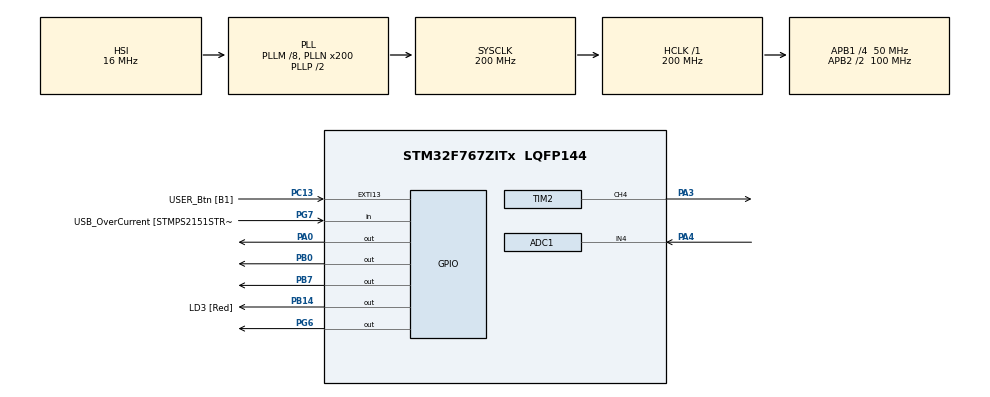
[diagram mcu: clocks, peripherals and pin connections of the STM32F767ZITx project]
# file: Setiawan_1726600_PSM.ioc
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ADC1.Channel-5\#ChannelRegularConversion=ADC_CHANNEL_4
ADC1.ContinuousConvMode=DISABLE
ADC1.DMAContinuousRequests=ENABLE
ADC1.ExternalTrigConv=ADC_EXTERNALTRIGCONV_T4_TRGO
ADC1.InjNumberOfConversion=0
ADC1.NbrOfConversion=1
ADC1.NbrOfConversionFlag=1
ADC1.Rank-5\#ChannelRegularConversion=1
ADC1.SamplingTime-5\#ChannelRegularConversion=ADC_SAMPLETIME_3CYCLES
ADC1.master=1
Dma.ADC1.0.Direction=DMA_PERIPH_TO_MEMORY
Dma.ADC1.0.FIFOMode=DMA_FIFOMODE_DISABLE
Dma.ADC1.0.Instance=DMA2_Stream0
Dma.ADC1.0.MemDataAlignment=DMA_MDATAALIGN_HALFWORD
Dma.ADC1.0.MemInc=DMA_MINC_ENABLE
Dma.ADC1.0.Mode=DMA_CIRCULAR
Dma.ADC1.0.PeriphDataAlignment=DMA_PDATAALIGN_HALFWORD
Dma.ADC1.0.PeriphInc=DMA_PINC_DISABLE
Dma.ADC1.0.Priority=DMA_PRIORITY_HIGH
Dma.Request0=ADC1
Mcu.Family=STM32F7
Mcu.Name=STM32F767ZITx
Mcu.Package=LQFP144
NVIC.DMA2_Stream0_IRQn=true\:0\:0\:false\:false\:true\:false\:true\:true
NVIC.PriorityGroup=NVIC_PRIORITYGROUP_4
NVIC.TIM1_UP_TIM10_IRQn=true\:0\:0\:false\:false\:true\:true\:true\:true
NVIC.TIM2_IRQn=true\:0\:0\:false\:false\:true\:true\:true\:true
NVIC.TIM4_IRQn=true\:0\:0\:false\:false\:true\:true\:true\:true
PA0/WKUP.Signal=GPIO_Output
PA1.GPIO_Label=RMII_REF_CLK [LAN8742A-CZ-TR_REFCLK0]
PA1.Signal=ETH_REF_CLK
PA10.GPIO_Label=USB_ID
PA10.Signal=USB_OTG_FS_ID
PA11.GPIO_Label=USB_DM
PA11.Signal=USB_OTG_FS_DM
PA12.GPIO_Label=USB_DP
PA12.Signal=USB_OTG_FS_DP
PA13.GPIO_Label=TMS
PA13.Mode=Serial_Wire
PA13.Signal=SYS_JTMS-SWDIO
PA14.GPIO_Label=TCK
PA14.Mode=Serial_Wire
PA14.Signal=SYS_JTCK-SWCLK
PA2.GPIO_Label=RMII_MDIO [LAN8742A-CZ-TR_MDIO]
PA2.Signal=ETH_MDIO
PA3.GPIO_Speed=GPIO_SPEED_FREQ_HIGH
PA3.Signal=S_TIM2_CH4
PA4.Signal=ADCx_IN4
PA7.GPIO_Label=RMII_CRS_DV [LAN8742A-CZ-TR_CRS_DV]
PA7.Signal=ETH_CRS_DV
PA8.GPIO_Label=USB_SOF [TP1]
PA8.Signal=USB_OTG_FS_SOF
PA9.GPIO_Label=USB_VBUS
PA9.Signal=USB_OTG_FS_VBUS
PB0.Signal=GPIO_Output
PB13.GPIO_Label=RMII_TXD1 [LAN8742A-CZ-TR_TXD1]
PB13.Signal=ETH_TXD1
PB14.GPIO_Label=LD3 [Red]
PB14.Signal=GPIO_Output
PB3.GPIO_Label=SW0
PB3.Signal=SYS_JTDO-SWO
PB7.Signal=GPIO_Output
PC1.GPIO_Label=RMII_MDC [LAN8742A-CZ-TR_MDC]
PC1.Signal=ETH_MDC
PC13.GPIO_Label=USER_Btn [B1]
PC13.Signal=GPXTI13
PC14/OSC32_IN.Signal=RCC_OSC32_IN
PC15/OSC32_OUT.Signal=RCC_OSC32_OUT
PC4.GPIO_Label=RMII_RXD0 [LAN8742A-CZ-TR_RXD0]
PC4.Signal=ETH_RXD0
PC5.GPIO_Label=RMII_RXD1 [LAN8742A-CZ-TR_RXD1]
PC5.Signal=ETH_RXD1
PD8.GPIO_Label=STLK_RX [STM32F103CBT6_PA3]
PD8.Signal=USART3_TX
PD9.GPIO_Label=STLK_TX [STM32F103CBT6_PA2]
PD9.Signal=USART3_RX
PG11.GPIO_Label=RMII_TX_EN [LAN8742A-CZ-TR_TXEN]
PG11.Signal=ETH_TX_EN
PG13.GPIO_Label=RMII_TXD0 [LAN8742A-CZ-TR_TXD0]
PG13.Signal=ETH_TXD0
PG6.Signal=GPIO_Output
PG7.GPIO_Label=USB_OverCurrent [STMPS2151STR_FAULT]
PG7.Signal=GPIO_Input
PH0/OSC_IN.GPIO_Label=MCO [STM32F103CBT6_PA8]
PH0/OSC_IN.Signal=RCC_OSC_IN
PH1/OSC_OUT.Signal=RCC_OSC_OUT
ProjectManager.HeapSize=0x200
ProjectManager.StackSize=0x400
ProjectManager.TargetToolchain=STM32CubeIDE
RCC.48MHZClocksFreq_Value=24000000
RCC.AHBFreq_Value=200000000
RCC.APB1CLKDivider=RCC_HCLK_DIV4
RCC.APB1Freq_Value=50000000
RCC.APB1TimFreq_Value=100000000
RCC.APB2CLKDivider=RCC_HCLK_DIV2
RCC.APB2Freq_Value=100000000
RCC.APB2TimFreq_Value=200000000
RCC.CortexFreq_Value=200000000
RCC.HCLKFreq_Value=200000000
RCC.HSE_VALUE=16000000
RCC.HSI_VALUE=16000000
RCC.LSE_VALUE=32768
RCC.PLLM=8
RCC.PLLMUL=RCC_PLL_MUL9
RCC.PLLN=200
RCC.PRESCALERUSB=RCC_USBCLKSOURCE_PLL_DIV1_5
RCC.SYSCLKFreq_VALUE=200000000
RCC.SYSCLKSource=RCC_SYSCLKSOURCE_PLLCLK
RCC.SYSCLKSourceVirtual=RCC_SYSCLKSOURCE_PLLCLK
RCC.USBFreq_Value=200000000
RCC.VCOOutputFreq_Value=400000000
SH.ADCx_IN4.0=ADC1_IN4,IN4
SH.S_TIM2_CH4.0=TIM2_CH4,PWM Generation4 CH4
TIM1.Period=999
TIM1.Prescaler=19999
TIM1.TIM_MasterOutputTrigger=TIM_TRGO_UPDATE
TIM2.Channel-PWM\ Generation4\ CH4=TIM_CHANNEL_4
TIM2.OCMode_PWM-PWM\ Generation4\ CH4=TIM_OCMODE_PWM1
TIM2.Period=1723
TIM2.Pulse-PWM\ Generation4\ CH4=750
TIM2.TIM_MasterOutputTrigger=TIM_TRGO_UPDATE
TIM2.TIM_MasterSlaveMode=TIM_MASTERSLAVEMODE_DISABLE
TIM4.Period=1509
TIM4.Prescaler=99
TIM4.TIM_MasterOutputTrigger=TIM_TRGO_UPDATE
TIM4.TIM_MasterSlaveMode=TIM_MASTERSLAVEMODE_ENABLE
TIM5.Period=3333
VP_TIM1_VS_ClockSourceINT.Mode=Internal
VP_TIM2_VS_ClockSourceINT.Mode=Internal
VP_TIM2_VS_ClockSourceITR.Mode=TriggerSource_ITR0
VP_TIM2_VS_ControllerModeTrigger.Mode=Trigger Mode
VP_TIM4_VS_ClockSourceINT.Mode=Internal
VP_TIM4_VS_ClockSourceITR.Mode=TriggerSource_ITR0
VP_TIM4_VS_ControllerModeTrigger.Mode=Trigger Mode
VP_TIM4_VS_OPM.Mode=OPM_bit
VP_TIM5_VS_ClockSourceINT.Mode=Internal
board=NUCLEO-F767ZI

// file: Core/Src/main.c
/* USER CODE BEGIN Header */
/**
  ******************************************************************************
  * @file           : main.c
  * @brief          : Main program body
  ******************************************************************************
  * @attention
  *
  * Copyright (c) 2025 STMicroelectronics.
  * All rights reserved.
  *
  * This software is licensed under terms that can be found in the LICENSE file
  * in the root directory of this software component.
  * If no LICENSE file comes with this software, it is provided AS-IS.
  *
  ******************************************************************************
  */
/* USER CODE END Header */
#include "main.h"

ADC_HandleTypeDef hadc1;
DMA_HandleTypeDef hdma_adc1;

TIM_HandleTypeDef htim1;
TIM_HandleTypeDef htim2;
TIM_HandleTypeDef htim4;
TIM_HandleTypeDef htim5;

void SystemClock_Config(void);
static void MX_GPIO_Init(void);
static void MX_DMA_Init(void);
static void MX_TIM5_Init(void);
static void MX_TIM1_Init(void);
static void MX_TIM2_Init(void);
static void MX_ADC1_Init(void);
static void MX_TIM4_Init(void);

/* USER CODE BEGIN 0 */
#define ADC_BUF_SIZE 64
uint16_t adc_buf[ADC_BUF_SIZE];			//buffer where DMA stores ADC samples

volatile uint8_t adc_ready = 0;			//flag, set when ADC+DMA finish
volatile uint8_t pulse_counter = 0;		//counter for 58kHz pulse
/* USER CODE END 0 */

int main(void)
{

  /* MCU Configuration--------------------------------------------------------*/

  /* Reset of all peripherals, Initializes the Flash interface and the Systick. */
  HAL_Init();

  /* Configure the system clock */
  SystemClock_Config();

  /* Initialize all configured peripherals */
  MX_GPIO_Init();
  MX_DMA_Init();
  MX_TIM5_Init();
  MX_TIM1_Init();
  MX_TIM2_Init();
  MX_ADC1_Init();
  MX_TIM4_Init();
  /* USER CODE BEGIN 2 */
  // Start ADC in DMA mode (conversion will begin only on TIM4 trigger)
  HAL_ADC_Start_DMA(&hadc1, (uint32_t*)adc_buf, ADC_BUF_SIZE);

  // Start TIM2 PWM with interrupt enabled (we stop it manually after 3 pulses)
  HAL_TIM_PWM_Start_IT(&htim2, TIM_CHANNEL_4);
  __HAL_TIM_ENABLE_IT(&htim2, TIM_IT_UPDATE);

  // Start TIM1 (master timer — triggers TIM2 + TIM4 via ITR0)
  HAL_TIM_Base_Start_IT(&htim1);

  // Start TIM4 in one-pulse mode (slave timer for ADC trigger)
  HAL_TIM_Base_Start_IT(&htim4);

  // Start TIM5 as a free-running stopwatch for debugging timing
  HAL_TIM_Base_Start_IT(&htim5);

  //HAL_GPIO_WritePin(GPIOA, GPIO_PIN_3, GPIO_PIN_SET);

  /* USER CODE END 2 */

  /* Infinite loop */
  while (1)
  {

    /* USER CODE BEGIN 3 */
	  if (adc_ready)
	  {

	      adc_ready = 0;

	      // Optional: process adc_buf[] here
	      // e.g. find echo peak, average, or log to UART

	      // Restart TIM2 for next cycle (re-arm for 3 new pulses)
	      HAL_TIM_PWM_Start_IT(&htim2, TIM_CHANNEL_4);
	  }
  }
  /* USER CODE END 3 */
}

void SystemClock_Config(void)
{
  RCC_OscInitTypeDef RCC_OscInitStruct = {0};
  RCC_ClkInitTypeDef RCC_ClkInitStruct = {0};

  /** Configure the main internal regulator output voltage
  */
  __HAL_RCC_PWR_CLK_ENABLE();
  __HAL_PWR_VOLTAGESCALING_CONFIG(PWR_REGULATOR_VOLTAGE_SCALE1);

  /** Initializes the RCC Oscillators according to the specified parameters
  * in the RCC_OscInitTypeDef structure.
  */
  RCC_OscInitStruct.OscillatorType = RCC_OSCILLATORTYPE_HSI;
  RCC_OscInitStruct.HSIState = RCC_HSI_ON;
  RCC_OscInitStruct.HSICalibrationValue = RCC_HSICALIBRATION_DEFAULT;
  RCC_OscInitStruct.PLL.PLLState = RCC_PLL_ON;
  RCC_OscInitStruct.PLL.PLLSource = RCC_PLLSOURCE_HSI;
  RCC_OscInitStruct.PLL.PLLM = 8;
  RCC_OscInitStruct.PLL.PLLN = 200;
  RCC_OscInitStruct.PLL.PLLP = RCC_PLLP_DIV2;
  RCC_OscInitStruct.PLL.PLLQ = 2;
  RCC_OscInitStruct.PLL.PLLR = 2;
  if (HAL_RCC_OscConfig(&RCC_OscInitStruct) != HAL_OK)
  {
    Error_Handler();
  }

  /** Activate the Over-Drive mode
  */
  if (HAL_PWREx_EnableOverDrive() != HAL_OK)
  {
    Error_Handler();
  }

  /** Initializes the CPU, AHB and APB buses clocks
  */
  RCC_ClkInitStruct.ClockType = RCC_CLOCKTYPE_HCLK|RCC_CLOCKTYPE_SYSCLK
                              |RCC_CLOCKTYPE_PCLK1|RCC_CLOCKTYPE_PCLK2;
  RCC_ClkInitStruct.SYSCLKSource = RCC_SYSCLKSOURCE_PLLCLK;
  RCC_ClkInitStruct.AHBCLKDivider = RCC_SYSCLK_DIV1;
  RCC_ClkInitStruct.APB1CLKDivider = RCC_HCLK_DIV4;
  RCC_ClkInitStruct.APB2CLKDivider = RCC_HCLK_DIV2;

  if (HAL_RCC_ClockConfig(&RCC_ClkInitStruct, FLASH_LATENCY_6) != HAL_OK)
  {
    Error_Handler();
  }
}

static void MX_ADC1_Init(void)
{

  ADC_ChannelConfTypeDef sConfig = {0};

  /** Configure the global features of the ADC (Clock, Resolution, Data Alignment and number of conversion)
  */
  hadc1.Instance = ADC1;
  hadc1.Init.ClockPrescaler = ADC_CLOCK_SYNC_PCLK_DIV4;
  hadc1.Init.Resolution = ADC_RESOLUTION_12B;
  hadc1.Init.ScanConvMode = ADC_SCAN_DISABLE;
  hadc1.Init.ContinuousConvMode = DISABLE;
  hadc1.Init.DiscontinuousConvMode = DISABLE;
  hadc1.Init.ExternalTrigConvEdge = ADC_EXTERNALTRIGCONVEDGE_RISING;
  hadc1.Init.ExternalTrigConv = ADC_EXTERNALTRIGCONV_T4_TRGO;
  hadc1.Init.DataAlign = ADC_DATAALIGN_RIGHT;
  hadc1.Init.NbrOfConversion = 1;
  hadc1.Init.DMAContinuousRequests = ENABLE;
  hadc1.Init.EOCSelection = ADC_EOC_SINGLE_CONV;
  if (HAL_ADC_Init(&hadc1) != HAL_OK)
  {
    Error_Handler();
  }

  /** Configure for the selected ADC regular channel its corresponding rank in the sequencer and its sample time.
  */
  sConfig.Channel = ADC_CHANNEL_4;
  sConfig.Rank = ADC_REGULAR_RANK_1;
  sConfig.SamplingTime = ADC_SAMPLETIME_3CYCLES;
  if (HAL_ADC_ConfigChannel(&hadc1, &sConfig) != HAL_OK)
  {
    Error_Handler();
  }

}

static void MX_TIM1_Init(void)
{

  TIM_ClockConfigTypeDef sClockSourceConfig = {0};
  TIM_MasterConfigTypeDef sMasterConfig = {0};

  htim1.Instance = TIM1;
  htim1.Init.Prescaler = 19999;
  htim1.Init.CounterMode = TIM_COUNTERMODE_UP;
  htim1.Init.Period = 999;
  htim1.Init.ClockDivision = TIM_CLOCKDIVISION_DIV1;
  htim1.Init.RepetitionCounter = 0;
  htim1.Init.AutoReloadPreload = TIM_AUTORELOAD_PRELOAD_DISABLE;
  if (HAL_TIM_Base_Init(&htim1) != HAL_OK)
  {
    Error_Handler();
  }
  sClockSourceConfig.ClockSource = TIM_CLOCKSOURCE_INTERNAL;
  if (HAL_TIM_ConfigClockSource(&htim1, &sClockSourceConfig) != HAL_OK)
  {
    Error_Handler();
  }
  sMasterConfig.MasterOutputTrigger = TIM_TRGO_UPDATE;
  sMasterConfig.MasterOutputTrigger2 = TIM_TRGO2_RESET;
  sMasterConfig.MasterSlaveMode = TIM_MASTERSLAVEMODE_DISABLE;
  if (HAL_TIMEx_MasterConfigSynchronization(&htim1, &sMasterConfig) != HAL_OK)
  {
    Error_Handler();
  }

}

static void MX_TIM2_Init(void)
{

  TIM_ClockConfigTypeDef sClockSourceConfig = {0};
  TIM_SlaveConfigTypeDef sSlaveConfig = {0};
  TIM_MasterConfigTypeDef sMasterConfig = {0};
  TIM_OC_InitTypeDef sConfigOC = {0};

  htim2.Instance = TIM2;
  htim2.Init.Prescaler = 0;
  htim2.Init.CounterMode = TIM_COUNTERMODE_UP;
  htim2.Init.Period = 1723;
  htim2.Init.ClockDivision = TIM_CLOCKDIVISION_DIV1;
  htim2.Init.AutoReloadPreload = TIM_AUTORELOAD_PRELOAD_DISABLE;
  if (HAL_TIM_Base_Init(&htim2) != HAL_OK)
  {
    Error_Handler();
  }
  sClockSourceConfig.ClockSource = TIM_CLOCKSOURCE_INTERNAL;
  if (HAL_TIM_ConfigClockSource(&htim2, &sClockSourceConfig) != HAL_OK)
  {
    Error_Handler();
  }
  if (HAL_TIM_PWM_Init(&htim2) != HAL_OK)
  {
    Error_Handler();
  }
  sSlaveConfig.SlaveMode = TIM_SLAVEMODE_TRIGGER;
  sSlaveConfig.InputTrigger = TIM_TS_ITR0;
  if (HAL_TIM_SlaveConfigSynchro(&htim2, &sSlaveConfig) != HAL_OK)
  {
    Error_Handler();
  }
  sMasterConfig.MasterOutputTrigger = TIM_TRGO_UPDATE;
  sMasterConfig.MasterSlaveMode = TIM_MASTERSLAVEMODE_DISABLE;
  if (HAL_TIMEx_MasterConfigSynchronization(&htim2, &sMasterConfig) != HAL_OK)
  {
    Error_Handler();
  }
  sConfigOC.OCMode = TIM_OCMODE_PWM1;
  sConfigOC.Pulse = 750;
  sConfigOC.OCPolarity = TIM_OCPOLARITY_HIGH;
  sConfigOC.OCFastMode = TIM_OCFAST_DISABLE;
  if (HAL_TIM_PWM_ConfigChannel(&htim2, &sConfigOC, TIM_CHANNEL_4) != HAL_OK)
  {
    Error_Handler();
  }
  /* USER CODE BEGIN TIM2_Init 2 */
  //HAL_GPIO_WritePin(GPIOB, GPIO_PIN_7, GPIO_PIN_SET);
  /* USER CODE END TIM2_Init 2 */
  HAL_TIM_MspPostInit(&htim2);

}

static void MX_TIM4_Init(void)
{

  TIM_ClockConfigTypeDef sClockSourceConfig = {0};
  TIM_SlaveConfigTypeDef sSlaveConfig = {0};
  TIM_MasterConfigTypeDef sMasterConfig = {0};

  htim4.Instance = TIM4;
  htim4.Init.Prescaler = 99;
  htim4.Init.CounterMode = TIM_COUNTERMODE_UP;
  htim4.Init.Period = 1509;
  htim4.Init.ClockDivision = TIM_CLOCKDIVISION_DIV1;
  htim4.Init.AutoReloadPreload = TIM_AUTORELOAD_PRELOAD_DISABLE;
  if (HAL_TIM_Base_Init(&htim4) != HAL_OK)
  {
    Error_Handler();
  }
  sClockSourceConfig.ClockSource = TIM_CLOCKSOURCE_INTERNAL;
  if (HAL_TIM_ConfigClockSource(&htim4, &sClockSourceConfig) != HAL_OK)
  {
    Error_Handler();
  }
  if (HAL_TIM_OnePulse_Init(&htim4, TIM_OPMODE_SINGLE) != HAL_OK)
  {
    Error_Handler();
  }
  sSlaveConfig.SlaveMode = TIM_SLAVEMODE_TRIGGER;
  sSlaveConfig.InputTrigger = TIM_TS_ITR0;
  if (HAL_TIM_SlaveConfigSynchro(&htim4, &sSlaveConfig) != HAL_OK)
  {
    Error_Handler();
  }
  sMasterConfig.MasterOutputTrigger = TIM_TRGO_UPDATE;
  sMasterConfig.MasterSlaveMode = TIM_MASTERSLAVEMODE_ENABLE;
  if (HAL_TIMEx_MasterConfigSynchronization(&htim4, &sMasterConfig) != HAL_OK)
  {
    Error_Handler();
  }

}

static void MX_TIM5_Init(void)
{

  TIM_ClockConfigTypeDef sClockSourceConfig = {0};
  TIM_MasterConfigTypeDef sMasterConfig = {0};

  htim5.Instance = TIM5;
  htim5.Init.Prescaler = 0;
  htim5.Init.CounterMode = TIM_COUNTERMODE_UP;
  htim5.Init.Period = 3333;
  htim5.Init.ClockDivision = TIM_CLOCKDIVISION_DIV1;
  htim5.Init.AutoReloadPreload = TIM_AUTORELOAD_PRELOAD_DISABLE;
  if (HAL_TIM_Base_Init(&htim5) != HAL_OK)
  {
    Error_Handler();
  }
  sClockSourceConfig.ClockSource = TIM_CLOCKSOURCE_INTERNAL;
  if (HAL_TIM_ConfigClockSource(&htim5, &sClockSourceConfig) != HAL_OK)
  {
    Error_Handler();
  }
  sMasterConfig.MasterOutputTrigger = TIM_TRGO_RESET;
  sMasterConfig.MasterSlaveMode = TIM_MASTERSLAVEMODE_DISABLE;
  if (HAL_TIMEx_MasterConfigSynchronization(&htim5, &sMasterConfig) != HAL_OK)
  {
    Error_Handler();
  }

}

static void MX_DMA_Init(void)
{

  /* DMA controller clock enable */
  __HAL_RCC_DMA2_CLK_ENABLE();

  /* DMA interrupt init */
  /* DMA2_Stream0_IRQn interrupt configuration */
  HAL_NVIC_SetPriority(DMA2_Stream0_IRQn, 0, 0);
  HAL_NVIC_EnableIRQ(DMA2_Stream0_IRQn);

}

static void MX_GPIO_Init(void)
{
  GPIO_InitTypeDef GPIO_InitStruct = {0};

  /* GPIO Ports Clock Enable */
  __HAL_RCC_GPIOC_CLK_ENABLE();
  __HAL_RCC_GPIOH_CLK_ENABLE();
  __HAL_RCC_GPIOA_CLK_ENABLE();
  __HAL_RCC_GPIOB_CLK_ENABLE();
  __HAL_RCC_GPIOD_CLK_ENABLE();
  __HAL_RCC_GPIOG_CLK_ENABLE();

  /*Configure GPIO pin Output Level */
  HAL_GPIO_WritePin(GPIOA, GPIO_PIN_0, GPIO_PIN_RESET);

  /*Configure GPIO pin Output Level */
  HAL_GPIO_WritePin(GPIOB, GPIO_PIN_0|LD3_Pin|GPIO_PIN_7, GPIO_PIN_RESET);

  /*Configure GPIO pin Output Level */
  HAL_GPIO_WritePin(GPIOG, GPIO_PIN_6, GPIO_PIN_RESET);

  /*Configure GPIO pin : USER_Btn_Pin */
  GPIO_InitStruct.Pin = USER_Btn_Pin;
  GPIO_InitStruct.Mode = GPIO_MODE_IT_RISING;
  GPIO_InitStruct.Pull = GPIO_NOPULL;
  HAL_GPIO_Init(USER_Btn_GPIO_Port, &GPIO_InitStruct);

  /*Configure GPIO pins : RMII_MDC_Pin RMII_RXD0_Pin RMII_RXD1_Pin */
  GPIO_InitStruct.Pin = RMII_MDC_Pin|RMII_RXD0_Pin|RMII_RXD1_Pin;
  GPIO_InitStruct.Mode = GPIO_MODE_AF_PP;
  GPIO_InitStruct.Pull = GPIO_NOPULL;
  GPIO_InitStruct.Speed = GPIO_SPEED_FREQ_VERY_HIGH;
  GPIO_InitStruct.Alternate = GPIO_AF11_ETH;
  HAL_GPIO_Init(GPIOC, &GPIO_InitStruct);

  /*Configure GPIO pin : PA0 */
  GPIO_InitStruct.Pin = GPIO_PIN_0;
  GPIO_InitStruct.Mode = GPIO_MODE_OUTPUT_PP;
  GPIO_InitStruct.Pull = GPIO_NOPULL;
  GPIO_InitStruct.Speed = GPIO_SPEED_FREQ_LOW;
  HAL_GPIO_Init(GPIOA, &GPIO_InitStruct);

  /*Configure GPIO pins : RMII_REF_CLK_Pin RMII_MDIO_Pin RMII_CRS_DV_Pin */
  GPIO_InitStruct.Pin = RMII_REF_CLK_Pin|RMII_MDIO_Pin|RMII_CRS_DV_Pin;
  GPIO_InitStruct.Mode = GPIO_MODE_AF_PP;
  GPIO_InitStruct.Pull = GPIO_NOPULL;
  GPIO_InitStruct.Speed = GPIO_SPEED_FREQ_VERY_HIGH;
  GPIO_InitStruct.Alternate = GPIO_AF11_ETH;
  HAL_GPIO_Init(GPIOA, &GPIO_InitStruct);

  /*Configure GPIO pins : PB0 LD3_Pin PB7 */
  GPIO_InitStruct.Pin = GPIO_PIN_0|LD3_Pin|GPIO_PIN_7;
  GPIO_InitStruct.Mode = GPIO_MODE_OUTPUT_PP;
  GPIO_InitStruct.Pull = GPIO_NOPULL;
  GPIO_InitStruct.Speed = GPIO_SPEED_FREQ_LOW;
  HAL_GPIO_Init(GPIOB, &GPIO_InitStruct);

  /*Configure GPIO pin : RMII_TXD1_Pin */
  GPIO_InitStruct.Pin = RMII_TXD1_Pin;
  GPIO_InitStruct.Mode = GPIO_MODE_AF_PP;
  GPIO_InitStruct.Pull = GPIO_NOPULL;
  GPIO_InitStruct.Speed = GPIO_SPEED_FREQ_VERY_HIGH;
  GPIO_InitStruct.Alternate = GPIO_AF11_ETH;
  HAL_GPIO_Init(RMII_TXD1_GPIO_Port, &GPIO_InitStruct);

  /*Configure GPIO pins : STLK_RX_Pin STLK_TX_Pin */
  GPIO_InitStruct.Pin = STLK_RX_Pin|STLK_TX_Pin;
  GPIO_InitStruct.Mode = GPIO_MODE_AF_PP;
  GPIO_InitStruct.Pull = GPIO_NOPULL;
  GPIO_InitStruct.Speed = GPIO_SPEED_FREQ_VERY_HIGH;
  GPIO_InitStruct.Alternate = GPIO_AF7_USART3;
  HAL_GPIO_Init(GPIOD, &GPIO_InitStruct);

  /*Configure GPIO pin : PG6 */
  GPIO_InitStruct.Pin = GPIO_PIN_6;
  GPIO_InitStruct.Mode = GPIO_MODE_OUTPUT_PP;
  GPIO_InitStruct.Pull = GPIO_NOPULL;
  GPIO_InitStruct.Speed = GPIO_SPEED_FREQ_LOW;
  HAL_GPIO_Init(GPIOG, &GPIO_InitStruct);

  /*Configure GPIO pin : USB_OverCurrent_Pin */
  GPIO_InitStruct.Pin = USB_OverCurrent_Pin;
  GPIO_InitStruct.Mode = GPIO_MODE_INPUT;
  GPIO_InitStruct.Pull = GPIO_NOPULL;
  HAL_GPIO_Init(USB_OverCurrent_GPIO_Port, &GPIO_InitStruct);

  /*Configure GPIO pins : USB_SOF_Pin USB_ID_Pin USB_DM_Pin USB_DP_Pin */
  GPIO_InitStruct.Pin = USB_SOF_Pin|USB_ID_Pin|USB_DM_Pin|USB_DP_Pin;
  GPIO_InitStruct.Mode = GPIO_MODE_AF_PP;
  GPIO_InitStruct.Pull = GPIO_NOPULL;
  GPIO_InitStruct.Speed = GPIO_SPEED_FREQ_VERY_HIGH;
  GPIO_InitStruct.Alternate = GPIO_AF10_OTG_FS;
  HAL_GPIO_Init(GPIOA, &GPIO_InitStruct);

  /*Configure GPIO pin : USB_VBUS_Pin */
  GPIO_InitStruct.Pin = USB_VBUS_Pin;
  GPIO_InitStruct.Mode = GPIO_MODE_INPUT;
  GPIO_InitStruct.Pull = GPIO_NOPULL;
  HAL_GPIO_Init(USB_VBUS_GPIO_Port, &GPIO_InitStruct);

  /*Configure GPIO pins : RMII_TX_EN_Pin RMII_TXD0_Pin */
  GPIO_InitStruct.Pin = RMII_TX_EN_Pin|RMII_TXD0_Pin;
  GPIO_InitStruct.Mode = GPIO_MODE_AF_PP;
  GPIO_InitStruct.Pull = GPIO_NOPULL;
  GPIO_InitStruct.Speed = GPIO_SPEED_FREQ_VERY_HIGH;
  GPIO_InitStruct.Alternate = GPIO_AF11_ETH;
  HAL_GPIO_Init(GPIOG, &GPIO_InitStruct);

}

/* USER CODE BEGIN 4 */
void HAL_TIM_PeriodElapsedCallback(TIM_HandleTypeDef *htim)
{

	if (htim->Instance == TIM2)
    {
		//HAL_GPIO_WritePin(GPIOB, GPIO_PIN_7, GPIO_PIN_SET);

        pulse_counter++;

        if (pulse_counter >= 3)
        {
            HAL_TIM_PWM_Stop_IT(&htim2, TIM_CHANNEL_4);
            pulse_counter = 0;
            //HAL_GPIO_TogglePin(GPIOB, GPIO_PIN_7); // PA5 = TIM1 indicator
        }
        //HAL_GPIO_TogglePin(GPIOB, GPIO_PIN_7); // PA5 = TIM1 indicator
    }

    if (htim->Instance == TIM1)
    {
        HAL_GPIO_TogglePin(GPIOB, GPIO_PIN_7); // PA5 = TIM1 indicator
    	HAL_GPIO_TogglePin(GPIOB, GPIO_PIN_0);
    }

    /*if (htim->Instance == TIM2 && pulse_counter == 0)
    {
		//HAL_GPIO_TogglePin(GPIOB, GPIO_PIN_7); // PA5 = TIM1 indicator
    	//HAL_GPIO_TogglePin(GPIOB, GPIO_PIN_14); // LD3 red LED
		HAL_GPIO_TogglePin(GPIOA, GPIO_PIN_0);
	}*/
        //HAL_GPIO_WritePin(GPIOB, GPIO_PIN_0, GPIO_PIN_SET); // PB0 on start*/

    //if (htim->Instance == TIM2 && pulse_counter >= 3) {
    //    HAL_GPIO_WritePin(GPIOB, GPIO_PIN_0, GPIO_PIN_RESET); // PB0 off after 3 pulses
	// }

    if (htim->Instance == TIM4)
    {
    		//HAL_GPIO_TogglePin(GPIOB, GPIO_PIN_7); // PA5 = TIM1 indicator
        	HAL_GPIO_TogglePin(GPIOB, GPIO_PIN_14); // LD3 red LED
    		HAL_GPIO_TogglePin(GPIOA, GPIO_PIN_0);
    }//HAL_GPIO_TogglePin(GPIOB, GPIO_PIN_14); // LD3 red LED

    if (hadc1.Instance == ADC1)
    {
        //HAL_GPIO_TogglePin(GPIOB, GPIO_PIN_14); // LD3 red LED
        adc_ready = 1;
    }

}

void HAL_ADC_ConvCpltCallback(ADC_HandleTypeDef* hadc)
{
    if (hadc->Instance == ADC1)
    {
        adc_ready = 1;
    }
}
/* USER CODE END 4 */

void Error_Handler(void)
{
  __disable_irq();
  while (1)
  {
  }
}
